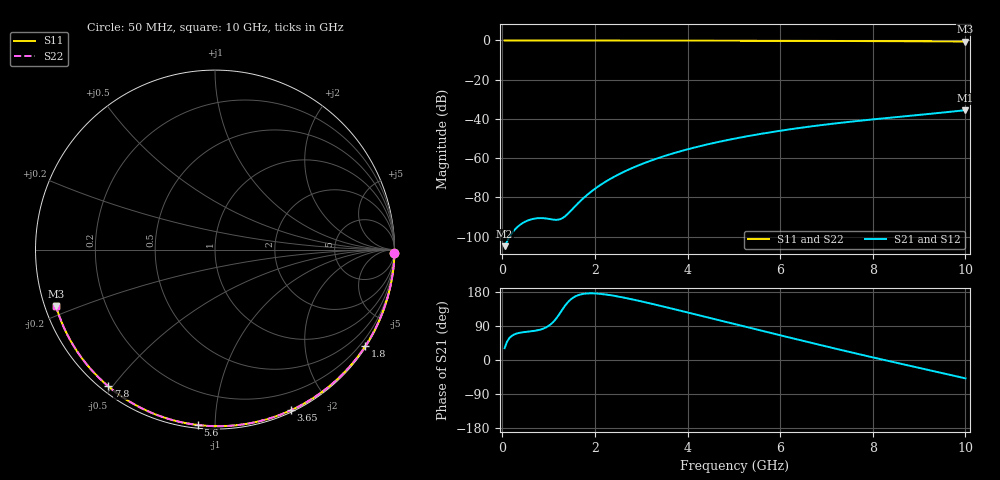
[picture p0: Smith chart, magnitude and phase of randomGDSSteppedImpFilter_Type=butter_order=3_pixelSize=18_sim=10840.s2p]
! freq	dB(S11)	phase(S11)	dB(S12)	phase(S12)
!  dB(S21)	phase(S21)	dB(S22)	phase(S22)
!S-par simulation data
#  GHz  S  DB  R 50
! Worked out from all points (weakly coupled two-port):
!   200 points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, 50 MHz to 10 GHz, reference 50 ohm
!   highest |S21| = -35.55 dB at 10 GHz (marker M1); lowest = -104.9 dB at 50 MHz (marker M2)
!   lowest |S11| = -0.5 dB at 10 GHz (marker M3), VSWR 32.48, Z = 1.59 - j8.63 ohm
!   |S11| at or under -10 dB: nowhere
!   |S22| runs from -0.5 to 0.0 dB; largest |S21 - S12| = 0
!   S11 on the Smith chart (normalised r, x): 50 MHz: open; 1.8 GHz: 0.03, -3.40; 3.65 GHz: 0.02, -1.58; 5.6 GHz: 0.02, -0.91; 7.8 GHz: 0.02, -0.49; 10 GHz: 0.03, -0.17
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0.05  -0.00 -0.9  -104.90 31.2  -104.90 31.2  -0.00 -0.9
0.45  -0.01 -8.3  -92.98 73.2  -92.98 73.2  -0.01 -8.3
0.9  -0.02 -16.6  -90.66 83.5  -90.66 83.5  -0.02 -16.6
1.75  -0.04 -31.9  -80.45 174.5  -80.45 174.5  -0.04 -31.9
1.8  -0.04 -32.8  -79.40 175.3  -79.40 175.3  -0.04 -32.8
1.95  -0.04 -35.4  -76.53 175.9  -76.53 175.9  -0.04 -35.4
2.1  -0.05 -38.1  -74.00 174.8  -74.00 174.8  -0.05 -38.1
2.3  -0.05 -41.6  -71.04 171.7  -71.04 171.7  -0.05 -41.6
2.5  -0.06 -45.1  -68.45 167.5  -68.45 167.5  -0.06 -45.1
2.9  -0.07 -52.0  -64.09 157.5  -64.09 157.5  -0.07 -52.0
3.4  -0.08 -60.4  -59.72 143.4  -59.72 143.4  -0.08 -60.4
3.65  -0.09 -64.6  -57.85 136.0  -57.85 136.0  -0.09 -64.6
4.3  -0.11 -75.2  -53.72 116.5  -53.72 116.5  -0.11 -75.2
5.05  -0.13 -87.1  -49.90 93.8  -49.90 93.8  -0.13 -87.1
5.6  -0.16 -95.6  -47.56 77.3  -47.56 77.3  -0.16 -95.6
6.15  -0.19 -103.9  -45.52 60.8  -45.52 60.8  -0.19 -103.9
6.7  -0.22 -112.0  -43.73 44.5  -43.73 44.5  -0.22 -112.0
7.25  -0.26 -120.0  -42.15 28.4  -42.15 28.4  -0.26 -120.0
7.8  -0.30 -128.0  -40.74 12.6  -40.74 12.6  -0.30 -128.0
8.35  -0.35 -136.0  -39.44 -2.9  -39.44 -2.9  -0.35 -136.0
9.2  -0.44 -148.4  -37.50 -26.2  -37.50 -26.2  -0.44 -148.4
10  -0.54 -160.4  -35.55 -48.6  -35.55 -48.6  -0.54 -160.4
